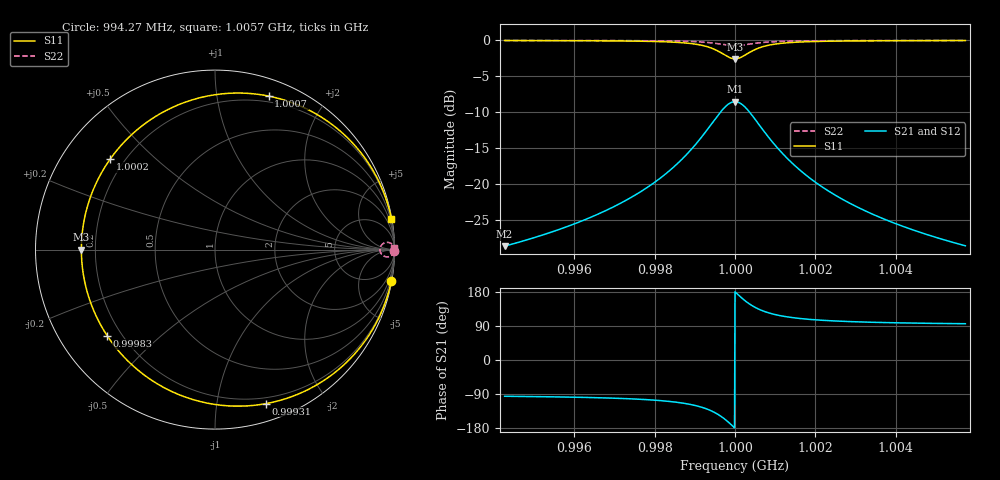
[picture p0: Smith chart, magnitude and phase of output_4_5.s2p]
! File generated for n1 = 4, n2 = 5
! b1 = 10.000000
! b2 = 0.464159
! Q0 = 10000.000000
! f0 = 1000000000.000000
! n = 1001
! rel_span = 10.000000
# Hz S RI R 50
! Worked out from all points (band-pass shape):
!   1001 points, 994.27 MHz to 1.0057 GHz, reference 50 ohm
!   highest |S21| = -8.50 dB at 1 GHz (marker M1); lowest = -28.6 dB at 994.27 MHz (marker M2)
!   |S21| within 3 dB of the highest: 999.4283 MHz to 1.000572 GHz (1.144 MHz wide, 0.114 % of centre)
!   lowest |S11| = -2.6 dB at 1 GHz (marker M3), VSWR 6.83, Z = 7.32 + j0 ohm
!   |S11| at or under -10 dB: nowhere
!   |S22| runs from -0.7 to 0.0 dB; largest |S21 - S12| = 0
!   S11 on the Smith chart (normalised r, x): 994.27 MHz: 0, -11; 999.31 MHz: 0.15, -1.38; 999.83 MHz: 0.15, -0.34; 1.0002 GHz: 0.15, +0.37; 1.0007 GHz: 0.15, +1.40; 1.0057 GHz: 0, +11
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9.942679e8  0.9828 -0.1722  -0.0037 -0.0371  -0.0037 -0.0371  0.9992 -0.00799
9.961824e8  0.9617 -0.2557  -0.00826 -0.0551  -0.00826 -0.0551  0.9982 -0.0119
9.972715e8  0.9265 -0.3506  -0.0158 -0.0755  -0.0158 -0.0755  0.9966 -0.0163
9.980969e8  0.8551 -0.4814  -0.0312 -0.1037  -0.0312 -0.1037  0.9933 -0.0223
9.988307e8  0.6623 -0.6893  -0.0727 -0.1485  -0.0727 -0.1485  0.9843 -0.032
9.990943e8  0.5014 -0.7882  -0.1074 -0.1698  -0.1074 -0.1698  0.9769 -0.0366
9.993122e8  0.2853 -0.8579  -0.154 -0.1848  -0.154 -0.1848  0.9668 -0.0398
9.995988e8  -0.1707 -0.8197  -0.2522 -0.1766  -0.2522 -0.1766  0.9457 -0.038
9.997134e8  -0.3956 -0.6979  -0.3007 -0.1504  -0.3007 -0.1504  0.9352 -0.0324
9.99828e8  -0.6005 -0.4802  -0.3448 -0.1035  -0.3448 -0.1035  0.9257 -0.0223
1e9  -0.7446 0  -0.3759 0  -0.3759 0  0.919 0
1.000092e9  -0.701 0.2722  -0.3665 0.0586  -0.3665 0.0586  0.921 0.0126
1.000183e9  -0.5825 0.5064  -0.3409 0.1091  -0.3409 0.1091  0.9265 0.0235
1.000287e9  -0.3957 0.6978  -0.3007 0.1503  -0.3007 0.1503  0.9352 0.0324
1.000401e9  -0.171 0.8195  -0.2523 0.1766  -0.2523 0.1766  0.9456 0.038
1.000527e9  0.0549 0.8692  -0.2036 0.1873  -0.2036 0.1873  0.9561 0.0403
1.000699e9  0.2986 0.8554  -0.1511 0.1843  -0.1511 0.1843  0.9674 0.0397
1.000917e9  0.5096 0.7842  -0.1056 0.169  -0.1056 0.169  0.9772 0.0364
1.001181e9  0.667 0.6856  -0.0717 0.1477  -0.0717 0.1477  0.9845 0.0318
1.001915e9  0.8562 0.4797  -0.031 0.1034  -0.031 0.1034  0.9933 0.0223
1.003829e9  0.9616 0.2559  -0.00827 0.0551  -0.00827 0.0551  0.9982 0.0119
1.005732e9  0.9826 0.1732  -0.00374 0.0373  -0.00374 0.0373  0.9992 0.00804
